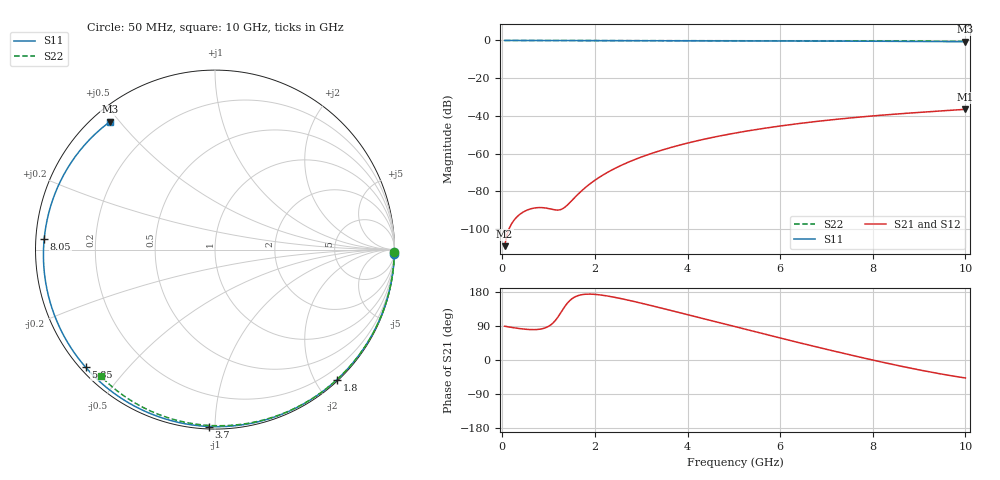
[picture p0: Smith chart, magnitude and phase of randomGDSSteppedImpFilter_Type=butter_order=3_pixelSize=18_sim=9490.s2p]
! freq	dB(S11)	phase(S11)	dB(S12)	phase(S12)
!  dB(S21)	phase(S21)	dB(S22)	phase(S22)
!S-par simulation data
#  GHz  S  DB  R 50
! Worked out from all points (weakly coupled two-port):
!   200 points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, 50 MHz to 10 GHz, reference 50 ohm
!   highest |S21| = -36.49 dB at 10 GHz (marker M1); lowest = -109.0 dB at 50 MHz (marker M2)
!   lowest |S11| = -0.7 dB at 10 GHz (marker M3), VSWR 24.71, Z = 2.47 + j23.6 ohm
!   |S11| at or under -10 dB: nowhere
!   |S22| runs from -0.4 to 0.0 dB; largest |S21 - S12| = 0
!   S11 on the Smith chart (normalised r, x): 50 MHz: 0, -85; 1.8 GHz: 0.02, -2.31; 3.7 GHz: 0.01, -0.97; 5.85 GHz: 0.02, -0.39; 8.05 GHz: 0.02, +0.03; 10 GHz: 0.05, +0.47
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0.05  -0.00 -1.3  -109.00 89.2  -109.00 89.2  -0.00 -0.8
0.45  -0.02 -11.9  -90.95 81.8  -90.95 81.8  -0.01 -6.8
0.85  -0.03 -22.5  -88.57 82.2  -88.57 82.2  -0.02 -12.9
1.7  -0.06 -44.3  -79.97 172.0  -79.97 172.0  -0.03 -25.6
1.75  -0.06 -45.6  -78.86 173.0  -78.86 173.0  -0.03 -26.3
1.8  -0.06 -46.8  -77.81 173.6  -77.81 173.6  -0.03 -27.1
2.1  -0.07 -54.3  -72.42 172.0  -72.42 172.0  -0.04 -31.5
2.45  -0.08 -62.9  -67.57 164.9  -67.57 164.9  -0.05 -36.6
2.9  -0.09 -73.6  -62.71 152.9  -62.71 152.9  -0.06 -43.0
3.4  -0.11 -85.2  -58.45 138.1  -58.45 138.1  -0.07 -50.1
3.7  -0.12 -91.9  -56.30 128.9  -56.30 128.9  -0.07 -54.3
4.35  -0.15 -106.2  -52.37 108.7  -52.37 108.7  -0.09 -63.2
5.05  -0.18 -121.2  -48.98 87.0  -48.98 87.0  -0.11 -72.5
5.85  -0.23 -137.7  -45.84 62.5  -45.84 62.5  -0.14 -82.9
6.7  -0.29 -155.2  -43.15 37.0  -43.15 37.0  -0.18 -93.5
7.4  -0.35 -169.7  -41.32 16.7  -41.32 16.7  -0.22 -101.9
8.05  -0.41 176.4  -39.88 -1.5  -39.88 -1.5  -0.27 -109.6
8.35  -0.45 169.8  -39.29 -9.6  -39.29 -9.6  -0.29 -113.1
8.8  -0.50 159.6  -38.47 -21.1  -38.47 -21.1  -0.33 -118.3
9.2  -0.56 150.1  -37.79 -30.7  -37.79 -30.7  -0.36 -122.9
9.6  -0.62 140.0  -37.14 -39.6  -37.14 -39.6  -0.40 -127.5
10  -0.70 129.4  -36.49 -47.5  -36.49 -47.5  -0.45 -132.0
